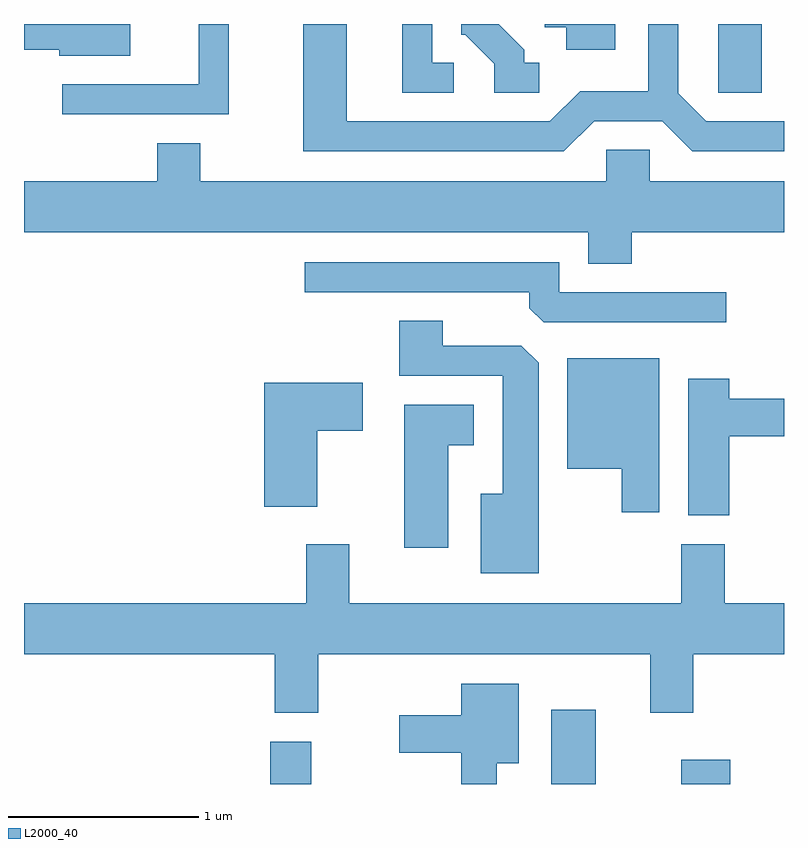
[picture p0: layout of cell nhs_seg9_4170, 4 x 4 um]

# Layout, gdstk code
import gdstk
lib = gdstk.Library(unit=1e-6, precision=1e-09)
def R(c, l, rs):  # rectangles x0, y0, x1, y1
    for r in rs: c.add(gdstk.rectangle(r[:2], r[2:], *l))
def P(c, l, *ps):  # polygons
    for p in ps: c.add(gdstk.Polygon(p, *l))
L2000_40 = (2000, 40)

nhs_seg9_4170 = lib.new_cell('nhs_seg9_4170')
R(nhs_seg9_4170, L2000_40, [(308.906,2024.432,309.124,2024.654), (310.386,2024.432,310.619,2024.824), (311.071,2024.432,311.329,2024.559), (311.266,2028.071,311.494,2028.432)])
P(nhs_seg9_4170, L2000_40, [(310.612,2027.921),(310.969,2027.921),(311.129,2027.761),(311.611,2027.761),(311.611,2027.919),(311.202,2027.919),(311.054,2028.067),(311.054,2028.432),(310.896,2028.432),(310.896,2028.079),(310.539,2028.079),(310.379,2027.919),(309.309,2027.919),(309.309,2028.432),(309.081,2028.432),(309.081,2027.761),(310.452,2027.761)],
  [(308.689,2028.432),(308.531,2028.432),(308.531,2028.114),(307.813,2028.114),(307.813,2027.956),(308.689,2027.956)],
  [(309.873,2028.229),(309.759,2028.229),(309.759,2028.432),(309.601,2028.432),(309.601,2028.071),(309.873,2028.071)],
  [(308.169,2028.432),(307.611,2028.432),(307.611,2028.296),(307.796,2028.296),(307.796,2028.266),(308.169,2028.266)],
  [(310.724,2028.432),(310.351,2028.432),(310.351,2028.416),(310.466,2028.416),(310.466,2028.296),(310.724,2028.296)],
  [(310.323,2028.229),(310.244,2028.229),(310.244,2028.297),(310.109,2028.432),(309.911,2028.432),(309.911,2028.376),(309.934,2028.376),(310.086,2028.224),(310.086,2028.071),(310.323,2028.071)],
  [(310.809,2027.336),(311.611,2027.336),(311.611,2027.604),(310.904,2027.604),(310.904,2027.769),(310.676,2027.769),(310.676,2027.604),(308.539,2027.604),(308.539,2027.804),(308.311,2027.804),(308.311,2027.604),(307.611,2027.604),(307.611,2027.336),(310.581,2027.336),(310.581,2027.171),(310.809,2027.171)],
  [(311.308,2027.019),(310.429,2027.019),(310.429,2027.179),(309.088,2027.179),(309.088,2027.021),(310.271,2027.021),(310.271,2026.937),(310.347,2026.861),(311.308,2026.861)],
  [(310.319,2026.649),(310.229,2026.739),(309.814,2026.739),(309.814,2026.869),(309.586,2026.869),(309.586,2026.581),(310.131,2026.581),(310.131,2025.959),(310.016,2025.959),(310.016,2025.541),(310.319,2025.541)],
  [(310.954,2026.674),(310.471,2026.674),(310.471,2026.091),(310.756,2026.091),(310.756,2025.861),(310.954,2025.861)],
  [(311.324,2026.261),(311.611,2026.261),(311.611,2026.459),(311.324,2026.459),(311.324,2026.564),(311.106,2026.564),(311.106,2025.846),(311.324,2025.846)],
  [(309.154,2026.291),(309.394,2026.291),(309.394,2026.544),(308.876,2026.544),(308.876,2025.891),(309.154,2025.891)],
  [(309.844,2026.216),(309.979,2026.216),(309.979,2026.429),(309.611,2026.429),(309.611,2025.676),(309.844,2025.676)],
  [(309.159,2025.116),(310.906,2025.116),(310.906,2024.806),(311.134,2024.806),(311.134,2025.116),(311.611,2025.116),(311.611,2025.384),(311.299,2025.384),(311.299,2025.694),(311.071,2025.694),(311.071,2025.384),(309.324,2025.384),(309.324,2025.694),(309.096,2025.694),(309.096,2025.384),(307.611,2025.384),(307.611,2025.116),(308.931,2025.116),(308.931,2024.806),(309.159,2024.806)],
  [(310.099,2024.541),(310.214,2024.541),(310.214,2024.959),(309.911,2024.959),(309.911,2024.794),(309.586,2024.794),(309.586,2024.596),(309.911,2024.596),(309.911,2024.432),(310.099,2024.432)])

lib.write_gds('nhs_seg9_4170.gds')
